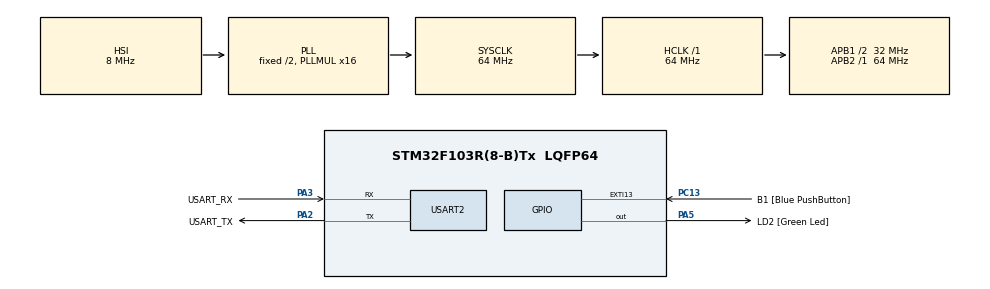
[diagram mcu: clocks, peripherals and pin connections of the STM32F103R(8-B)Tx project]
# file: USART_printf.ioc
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Mcu.Family=STM32F1
Mcu.Name=STM32F103R(8-B)Tx
Mcu.Package=LQFP64
NVIC.EXTI15_10_IRQn=true\:0\:0\:false\:false\:true\:true\:true\:true
NVIC.PriorityGroup=NVIC_PRIORITYGROUP_4
PA13.GPIO_Label=TMS
PA13.Mode=Serial_Wire
PA13.Signal=SYS_JTMS-SWDIO
PA14.GPIO_Label=TCK
PA14.Mode=Serial_Wire
PA14.Signal=SYS_JTCK-SWCLK
PA2.GPIO_Label=USART_TX
PA2.GPIO_Mode=GPIO_MODE_AF_PP
PA2.GPIO_PuPd=GPIO_NOPULL
PA2.GPIO_Speed=GPIO_SPEED_FREQ_LOW
PA2.Mode=Asynchronous
PA2.Signal=USART2_TX
PA3.GPIO_Label=USART_RX
PA3.GPIO_Mode=GPIO_MODE_AF_PP
PA3.GPIO_PuPd=GPIO_NOPULL
PA3.GPIO_Speed=GPIO_SPEED_FREQ_LOW
PA3.Mode=Asynchronous
PA3.Signal=USART2_RX
PA5.GPIO_Label=LD2 [Green Led]
PA5.GPIO_ModeDefaultOutputPP=GPIO_MODE_OUTPUT_PP
PA5.GPIO_PuPd=GPIO_NOPULL
PA5.GPIO_Speed=GPIO_SPEED_FREQ_LOW
PA5.Signal=GPIO_Output
PB3.GPIO_Label=SWO
PB3.Signal=SYS_JTDO-TRACESWO
PC13-TAMPER-RTC.GPIO_Label=B1 [Blue PushButton]
PC13-TAMPER-RTC.GPIO_PuPd=GPIO_NOPULL
PC13-TAMPER-RTC.Signal=GPXTI13
PC14-OSC32_IN.Signal=RCC_OSC32_IN
PC15-OSC32_OUT.Signal=RCC_OSC32_OUT
PD0-OSC_IN.Signal=RCC_OSC_IN
PD1-OSC_OUT.Signal=RCC_OSC_OUT
ProjectManager.HeapSize=0x200
ProjectManager.StackSize=0x400
ProjectManager.TargetToolchain=STM32CubeIDE
RCC.AHBFreq_Value=64000000
RCC.APB1CLKDivider=RCC_HCLK_DIV2
RCC.APB1Freq_Value=32000000
RCC.APB1TimFreq_Value=64000000
RCC.APB2Freq_Value=64000000
RCC.APB2TimFreq_Value=64000000
RCC.HCLKFreq_Value=64000000
RCC.PLLMUL=RCC_PLL_MUL16
RCC.RTCClockSelection=RCC_RTCCLKSOURCE_LSE
RCC.SYSCLKFreq_VALUE=64000000
RCC.SYSCLKSource=RCC_SYSCLKSOURCE_PLLCLK
RCC.USBFreq_Value=64000000
USART2.VirtualMode=VM_ASYNC
board=NUCLEO-F103RB

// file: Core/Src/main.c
/* USER CODE BEGIN Header */
/**
 ******************************************************************************
 * @file           : main.c
 * @brief          : Main program body
 ******************************************************************************
 * @attention
 *
 * Copyright (c) 2025 STMicroelectronics.
 * All rights reserved.
 *
 * This software is licensed under terms that can be found in the LICENSE file
 * in the root directory of this software component.
 * If no LICENSE file comes with this software, it is provided AS-IS.
 *
 ******************************************************************************
 */
/* USER CODE END Header */
#include "main.h"
/* USER CODE BEGIN Includes */
#include "stdio.h"
#include "stdint.h"

/* USER CODE END Includes */

UART_HandleTypeDef huart2;

void SystemClock_Config(void);
static void MX_GPIO_Init(void);
static void MX_USART2_UART_Init(void);

/* USER CODE BEGIN 0 */
#ifdef __GNUC__
#define PUTCHAR_PROTOTYPE int __io_putchar(int ch)
#else
#define PUTCHAR_PROTOTYPE int fputc(int ch, FILE *f)
#endif

PUTCHAR_PROTOTYPE {
	if (ch == '\n')
		HAL_UART_Transmit(&huart2, (uint8_t*) "\r", 1, 0xFFFF);

	HAL_UART_Transmit(&huart2, (uint8_t*) &ch, 1, 0xFFFF);

	return ch;

}

#ifdef __GNUC__
#define GETCHAR_PROTOTYPE int __io_getchar(void)
#else
#define GETCHAR_PROTOTYPE int fgetc(FILE *f)
#endif

GETCHAR_PROTOTYPE {
	uint8_t ch = 0;
	// UART로 데이터가 수신될 때까지 대기
	HAL_UART_Receive(&huart2, &ch, 1, HAL_MAX_DELAY);
	return ch;
}
//PUTCHAR_PROTOTYPE
//{
//  HAL_UART_Transmit(&huart2, (uint8_t *)&ch, 1, HAL_MAX_DELAY);
//  return ch;
//}

//GETCHAR_PROTOTYPE
//{
//  uint8_t ch = 0;
//
//  /* Clear the Overrun flag just before receiving the first character */
//  __HAL_UART_CLEAR_OREFLAG(&huart2);
//
//
//  /* Wait for reception of a character on the USART RX line and echo this
//   * character on console */
//  HAL_UART_Receive(&huart2, (uint8_t *)&ch, 1, HAL_MAX_DELAY);
//  HAL_UART_Transmit(&huart2, (uint8_t *)&ch, 1, HAL_MAX_DELAY);
//  return ch;
//}
/* USER CODE END 0 */

int main(void) {

	/* MCU Configuration--------------------------------------------------------*/

	/* Reset of all peripherals, Initializes the Flash interface and the Systick. */
	HAL_Init();

	/* Configure the system clock */
	SystemClock_Config();

	/* Initialize all configured peripherals */
	MX_GPIO_Init();
	MX_USART2_UART_Init();
	/* USER CODE BEGIN 2 */
	uint8_t ch;
//	int counter = 0;
//	char str[80];
//	int i;
//
//	printf("Enter your family name: ");
//	scanf("%79s", str);
//	printf("Enter your age: ");
//	scanf("%d", &i);
//	printf("Mr. %s, %d years old.\n", str, i);
//	printf("Enter a hexadecimal number: ");
//	scanf("%x", &i);
//	printf("You have entered %#x (%d).\n", i, i);
	/* USER CODE END 2 */

	/* Infinite loop */
	/* USER CODE BEGIN WHILE */
	while (1) {
//		printf ("A \n");
//		HAL_Delay (1000); // 1sec
//		counter++;
//		if(counter == 10){
//			printf("end \n");
//			break;
//		}

		HAL_UART_Receive(&huart2, &ch, 1, HAL_MAX_DELAY);
//		printf("%c\n",ch);
		if(ch == '\n' || ch == '\r'){
			printf("\r\n");

		}
		printf("%c",ch);
		fflush(stdout);

		HAL_Delay(100);

//		printf("%c",ch);
//		HAL_Delay(1000);

//		HAL_UART_Receive(&huart2, &ch, 1, HAL_MAX_DELAY);
//		if(ch == 'a'){
//			HAL_GPIO_WritePin(LD2_GPIO_Port, LD2_Pin, 1);
//
//
//		}
//		else{
//			HAL_GPIO_WritePin(LD2_GPIO_Port, LD2_Pin, 	0);
//		}

//		HAL_UART_Receive(&huart2, &ch, 1, HAL_MAX_DELAY);
//		HAL_UART_Transmit(&huart2, &ch, 1, HAL_MAX_DELAY);
//		char name[20];
//		printf("What is your name?\n");
//		scanf("%s", name);
//		printf("hello %s\n",name);

		/* USER CODE END WHILE */

	}
}

void SystemClock_Config(void) {
	RCC_OscInitTypeDef RCC_OscInitStruct = { 0 };
	RCC_ClkInitTypeDef RCC_ClkInitStruct = { 0 };

	/** Initializes the RCC Oscillators according to the specified parameters
	 * in the RCC_OscInitTypeDef structure.
	 */
	RCC_OscInitStruct.OscillatorType = RCC_OSCILLATORTYPE_HSI;
	RCC_OscInitStruct.HSIState = RCC_HSI_ON;
	RCC_OscInitStruct.HSICalibrationValue = RCC_HSICALIBRATION_DEFAULT;
	RCC_OscInitStruct.PLL.PLLState = RCC_PLL_ON;
	RCC_OscInitStruct.PLL.PLLSource = RCC_PLLSOURCE_HSI_DIV2;
	RCC_OscInitStruct.PLL.PLLMUL = RCC_PLL_MUL16;
	if (HAL_RCC_OscConfig(&RCC_OscInitStruct) != HAL_OK) {
		Error_Handler();
	}

	/** Initializes the CPU, AHB and APB buses clocks
	 */
	RCC_ClkInitStruct.ClockType = RCC_CLOCKTYPE_HCLK | RCC_CLOCKTYPE_SYSCLK
			| RCC_CLOCKTYPE_PCLK1 | RCC_CLOCKTYPE_PCLK2;
	RCC_ClkInitStruct.SYSCLKSource = RCC_SYSCLKSOURCE_PLLCLK;
	RCC_ClkInitStruct.AHBCLKDivider = RCC_SYSCLK_DIV1;
	RCC_ClkInitStruct.APB1CLKDivider = RCC_HCLK_DIV2;
	RCC_ClkInitStruct.APB2CLKDivider = RCC_HCLK_DIV1;

	if (HAL_RCC_ClockConfig(&RCC_ClkInitStruct, FLASH_LATENCY_2) != HAL_OK) {
		Error_Handler();
	}
}

static void MX_USART2_UART_Init(void) {

	huart2.Instance = USART2;
	huart2.Init.BaudRate = 115200;
	huart2.Init.WordLength = UART_WORDLENGTH_8B;
	huart2.Init.StopBits = UART_STOPBITS_1;
	huart2.Init.Parity = UART_PARITY_NONE;
	huart2.Init.Mode = UART_MODE_TX_RX;
	huart2.Init.HwFlowCtl = UART_HWCONTROL_NONE;
	huart2.Init.OverSampling = UART_OVERSAMPLING_16;
	if (HAL_UART_Init(&huart2) != HAL_OK) {
		Error_Handler();
	}

}

static void MX_GPIO_Init(void) {
	GPIO_InitTypeDef GPIO_InitStruct = { 0 };

	/* GPIO Ports Clock Enable */
	__HAL_RCC_GPIOC_CLK_ENABLE();
	__HAL_RCC_GPIOD_CLK_ENABLE();
	__HAL_RCC_GPIOA_CLK_ENABLE();
	__HAL_RCC_GPIOB_CLK_ENABLE();

	/*Configure GPIO pin Output Level */
	HAL_GPIO_WritePin(LD2_GPIO_Port, LD2_Pin, GPIO_PIN_RESET);

	/*Configure GPIO pin : B1_Pin */
	GPIO_InitStruct.Pin = B1_Pin;
	GPIO_InitStruct.Mode = GPIO_MODE_IT_RISING;
	GPIO_InitStruct.Pull = GPIO_NOPULL;
	HAL_GPIO_Init(B1_GPIO_Port, &GPIO_InitStruct);

	/*Configure GPIO pin : LD2_Pin */
	GPIO_InitStruct.Pin = LD2_Pin;
	GPIO_InitStruct.Mode = GPIO_MODE_OUTPUT_PP;
	GPIO_InitStruct.Pull = GPIO_NOPULL;
	GPIO_InitStruct.Speed = GPIO_SPEED_FREQ_LOW;
	HAL_GPIO_Init(LD2_GPIO_Port, &GPIO_InitStruct);

	/* EXTI interrupt init*/
	HAL_NVIC_SetPriority(EXTI15_10_IRQn, 0, 0);
	HAL_NVIC_EnableIRQ(EXTI15_10_IRQn);

}

void Error_Handler(void) {
	__disable_irq();
	while (1) {
	}
}
